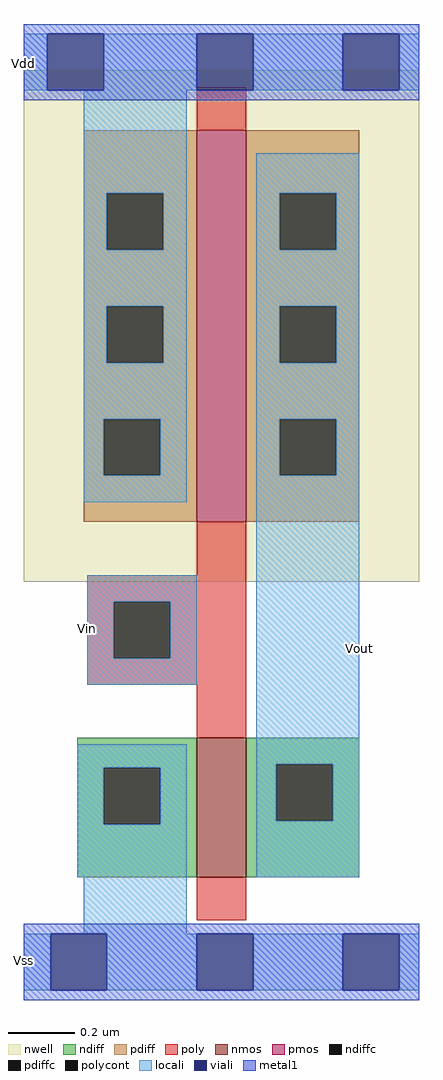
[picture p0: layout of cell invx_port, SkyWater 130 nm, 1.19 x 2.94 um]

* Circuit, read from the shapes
.subckt invx_port Vin Vdd Vss Vout
XM1 Vout Vin Vss VSUBS sky130_fd_pr__nfet_01v8 w=0.42 l=0.15
XM2 Vout Vin Vdd n1 sky130_fd_pr__pfet_01v8 w=1.18 l=0.15
.ends

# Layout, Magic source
magic
tech sky130A
<< nwell >>
rect -60 71 59 225
<< nmos >>
rect -8 -18 7 24
<< pmos >>
rect -8 89 7 207
<< ndiff >>
rect -44 15 -8 24
rect -44 -2 -36 15
rect -19 -2 -8 15
rect -44 -18 -8 -2
rect 7 16 41 24
rect 7 -1 16 16
rect 33 -1 41 16
rect 7 -18 41 -1
<< pdiff >>
rect -42 188 -8 207
rect -42 171 -35 188
rect -18 171 -8 188
rect -42 154 -8 171
rect -42 137 -35 154
rect -18 137 -8 154
rect -42 120 -8 137
rect -42 103 -36 120
rect -19 103 -8 120
rect -42 89 -8 103
rect 7 188 41 207
rect 7 171 17 188
rect 34 171 41 188
rect 7 154 41 171
rect 7 137 17 154
rect 34 137 41 154
rect 7 120 41 137
rect 7 103 17 120
rect 34 103 41 120
rect 7 89 41 103
<< ndiffc >>
rect -36 -2 -19 15
rect 16 -1 33 16
<< pdiffc >>
rect -35 171 -18 188
rect -35 137 -18 154
rect -36 103 -19 120
rect 17 171 34 188
rect 17 137 34 154
rect 17 103 34 120
<< poly >>
rect -8 207 7 220
rect -8 73 7 89
rect -41 65 7 73
rect -41 48 -33 65
rect -16 48 7 65
rect -41 40 7 48
rect -8 24 7 40
rect -8 -31 7 -18
<< polycont >>
rect -33 48 -16 65
<< locali >>
rect -60 219 -53 236
rect -36 219 -8 236
rect 9 219 36 236
rect 53 219 59 236
rect -42 188 -11 219
rect -42 171 -35 188
rect -18 171 -11 188
rect -42 154 -11 171
rect -42 137 -35 154
rect -18 137 -11 154
rect -42 120 -11 137
rect -42 103 -36 120
rect -19 103 -11 120
rect -42 95 -11 103
rect 10 188 41 200
rect 10 171 17 188
rect 34 171 41 188
rect 10 154 41 171
rect 10 137 17 154
rect 34 137 41 154
rect 10 120 41 137
rect 10 103 17 120
rect 34 103 41 120
rect -41 65 -8 73
rect -41 48 -33 65
rect -16 48 -8 65
rect -41 40 -8 48
rect -44 15 -11 22
rect -44 -2 -36 15
rect -19 -2 -11 15
rect -44 -18 -11 -2
rect 10 16 41 103
rect 10 -1 16 16
rect 33 -1 41 16
rect 10 -18 41 -1
rect -42 -35 -11 -18
rect -60 -52 -52 -35
rect -35 -52 -8 -35
rect 9 -52 36 -35
rect 53 -52 59 -35
<< viali >>
rect -53 219 -36 236
rect -8 219 9 236
rect 36 219 53 236
rect -52 -52 -35 -35
rect -8 -52 9 -35
rect 36 -52 53 -35
<< metal1 >>
rect -60 236 59 239
rect -60 219 -53 236
rect -36 219 -8 236
rect 9 219 36 236
rect 53 219 59 236
rect -60 216 59 219
rect -60 -35 59 -32
rect -60 -52 -52 -35
rect -35 -52 -8 -35
rect 9 -52 36 -35
rect 53 -52 59 -35
rect -60 -55 59 -52
<< labels >>
rlabel locali -41 57 -41 57 7 Vin
port 1 w
rlabel metal1 -60 -43 -60 -43 7 Vss
port 3 w
rlabel locali 41 51 41 51 3 Vout
port 4 e
rlabel metal1 -60 227 -60 227 7 Vdd
port 2 w
<< end >>
